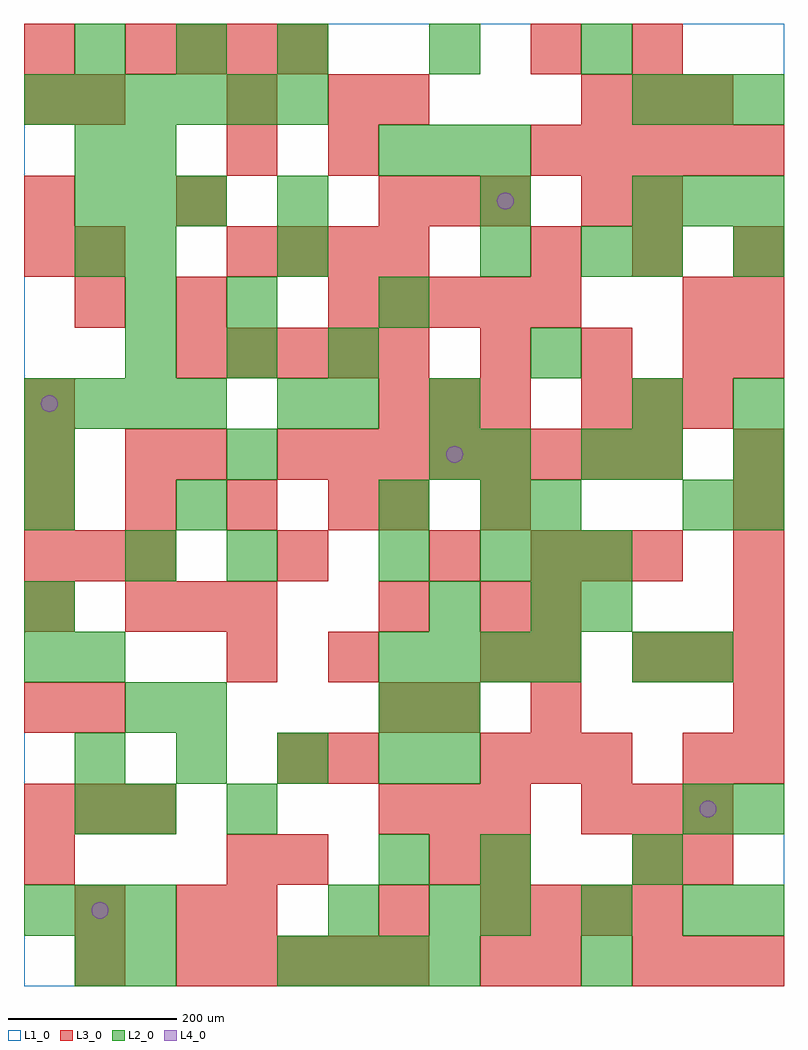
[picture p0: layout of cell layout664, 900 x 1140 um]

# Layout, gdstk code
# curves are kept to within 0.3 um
import gdstk
lib = gdstk.Library(unit=1e-6, precision=1e-09)
def R(c, l, rs):  # rectangles x0, y0, x1, y1
    for r in rs: c.add(gdstk.rectangle(r[:2], r[2:], *l))
def A(c, l, x, y, w, h, nx, ny, dx, dy):  # array of equal rectangles
    R(c, l, [(x+i*dx, y+j*dy, x+i*dx+w, y+j*dy+h) for i in range(nx) for j in range(ny)])
def P(c, l, *ps):  # polygons
    for p in ps: c.add(gdstk.Polygon(p, *l))
L1_0 = (1, 0)
L2_0 = (2, 0)
L3_0 = (3, 0)
L4_0 = (4, 0)

layout664 = lib.new_cell('layout664')
R(layout664, L1_0, [(0,0,900,1140)])
A(layout664, L2_0, 60, 0, 60, 60, 1, 3, 0, 180)
A(layout664, L2_0, 300, 0, 60, 60, 4, 1, 60, 0)
A(layout664, L2_0, 0, 60, 60, 60, 3, 1, 60, 0)
A(layout664, L2_0, 540, 60, 60, 60, 3, 1, 120, 0)
A(layout664, L2_0, 420, 120, 60, 60, 1, 3, 0, 180)
A(layout664, L2_0, 720, 120, 60, 60, 1, 3, 0, 240)
A(layout664, L2_0, 240, 180, 60, 60, 1, 3, 0, 300)
A(layout664, L2_0, 780, 180, 60, 60, 1, 3, 0, 180)
A(layout664, L2_0, 60, 240, 60, 60, 4, 1, 120, 0)
A(layout664, L2_0, 420, 360, 60, 60, 4, 1, 60, 0)
A(layout664, L2_0, 540, 480, 60, 60, 3, 1, 60, 0)
A(layout664, L2_0, 840, 540, 60, 60, 1, 3, 0, 60)
A(layout664, L2_0, 0, 600, 60, 60, 3, 1, 240, 0)
A(layout664, L2_0, 660, 600, 60, 60, 1, 3, 0, 240)
A(layout664, L2_0, 0, 660, 60, 60, 4, 1, 60, 0)
A(layout664, L2_0, 120, 720, 60, 60, 3, 1, 120, 0)
A(layout664, L2_0, 60, 900, 60, 60, 3, 1, 60, 0)
A(layout664, L2_0, 720, 900, 60, 60, 3, 2, 60, 120)
A(layout664, L2_0, 420, 960, 60, 60, 3, 1, 60, 0)
A(layout664, L2_0, 0, 1020, 60, 60, 6, 1, 60, 0)
A(layout664, L2_0, 60, 1080, 60, 60, 3, 1, 120, 0)
R(layout664, L2_0, [(120,0,180,60), (660,0,720,60), (360,60,420,120), (480,60,540,120), (840,60,900,120), (540,120,600,180), (120,180,180,240), (840,180,900,240), (480,240,540,300), (120,300,180,360), (180,300,240,360), (480,300,540,360), (0,360,60,420), (0,420,60,480), (480,420,540,480), (600,420,660,480), (660,420,720,480), (120,480,180,540), (0,540,60,600), (180,540,240,600), (420,540,480,600), (540,540,600,600), (600,540,660,600), (540,600,600,660), (300,660,360,720), (360,660,420,720), (480,660,540,720), (720,660,780,720), (600,720,660,780), (120,780,180,840), (420,780,480,840), (60,840,120,900), (120,840,180,900), (300,840,360,900), (540,840,600,900), (720,840,780,900), (840,840,900,900), (300,900,360,960), (540,900,600,960), (60,960,120,1020), (120,960,180,1020), (480,1080,540,1140)])
A(layout664, L3_0, 180, 0, 60, 60, 5, 2, 60, 720)
A(layout664, L3_0, 720, 0, 60, 60, 3, 2, 60, 360)
A(layout664, L3_0, 540, 60, 60, 60, 4, 1, 60, 0)
A(layout664, L3_0, 480, 120, 60, 60, 1, 3, 0, 180)
A(layout664, L3_0, 0, 180, 60, 60, 3, 2, 60, 300)
A(layout664, L3_0, 420, 180, 60, 60, 3, 2, 60, 480)
A(layout664, L3_0, 660, 180, 60, 60, 3, 2, 60, 480)
A(layout664, L3_0, 540, 240, 60, 60, 3, 1, 60, 0)
A(layout664, L3_0, 420, 300, 60, 60, 1, 3, 0, 120)
A(layout664, L3_0, 600, 300, 60, 60, 1, 3, 0, 60)
A(layout664, L3_0, 120, 420, 60, 60, 3, 1, 60, 0)
A(layout664, L3_0, 840, 420, 60, 60, 1, 4, 0, 60)
A(layout664, L3_0, 600, 480, 60, 60, 3, 1, 60, 0)
A(layout664, L3_0, 0, 540, 60, 60, 4, 1, 120, 0)
A(layout664, L3_0, 300, 600, 60, 60, 8, 1, 60, 0)
A(layout664, L3_0, 540, 720, 60, 60, 3, 1, 120, 0)
A(layout664, L3_0, 360, 780, 60, 60, 5, 1, 60, 0)
A(layout664, L3_0, 240, 840, 60, 60, 4, 1, 60, 0)
A(layout664, L3_0, 600, 840, 60, 60, 3, 1, 120, 0)
A(layout664, L3_0, 420, 900, 60, 60, 3, 1, 60, 0)
A(layout664, L3_0, 600, 960, 60, 60, 5, 1, 60, 0)
A(layout664, L3_0, 660, 1020, 60, 60, 3, 1, 60, 0)
A(layout664, L3_0, 120, 1080, 60, 60, 4, 1, 60, 0)
R(layout664, L3_0, [(60,0,120,60), (540,0,600,60), (600,0,660,60), (60,60,120,120), (180,60,240,120), (240,60,300,120), (420,60,480,120), (0,120,60,180), (240,120,300,180), (300,120,360,180), (540,120,600,180), (720,120,780,180), (780,120,840,180), (300,240,360,300), (360,240,420,300), (780,240,840,300), (840,240,900,300), (0,300,60,360), (60,300,120,360), (840,300,900,360), (240,360,300,420), (360,360,420,420), (540,360,600,420), (0,420,60,480), (540,420,600,480), (300,480,360,540), (540,540,600,600), (0,600,60,660), (120,600,180,660), (180,600,240,660), (0,660,60,720), (840,720,900,780), (60,780,120,840), (180,780,240,840), (780,780,840,840), (840,780,900,840), (0,840,60,900), (60,840,120,900), (0,900,60,960), (180,900,240,960), (660,900,720,960), (720,900,780,960), (240,960,300,1020), (360,960,420,1020), (0,1020,60,1080), (60,1020,120,1080), (240,1020,300,1080), (360,1020,420,1080), (420,1020,480,1080), (0,1080,60,1140), (600,1080,660,1140), (720,1080,780,1140)])
P(layout664, L4_0, [(40,690),(39.239,693.827),(37.071,697.071),(33.827,699.239),(30,700),(26.173,699.239),(22.929,697.071),(20.761,693.827),(20,690),(20.761,686.173),(22.929,682.929),(26.173,680.761),(30,680),(33.827,680.761),(37.071,682.929),(39.239,686.173)],
  [(100,90),(99.239,93.827),(97.071,97.071),(93.827,99.239),(90,100),(86.173,99.239),(82.929,97.071),(80.761,93.827),(80,90),(80.761,86.173),(82.929,82.929),(86.173,80.761),(90,80),(93.827,80.761),(97.071,82.929),(99.239,86.173)],
  [(520,630),(519.239,633.827),(517.071,637.071),(513.827,639.239),(510,640),(506.173,639.239),(502.929,637.071),(500.761,633.827),(500,630),(500.761,626.173),(502.929,622.929),(506.173,620.761),(510,620),(513.827,620.761),(517.071,622.929),(519.239,626.173)],
  [(580,930),(579.239,933.827),(577.071,937.071),(573.827,939.239),(570,940),(566.173,939.239),(562.929,937.071),(560.761,933.827),(560,930),(560.761,926.173),(562.929,922.929),(566.173,920.761),(570,920),(573.827,920.761),(577.071,922.929),(579.239,926.173)],
  [(820,210),(819.239,213.827),(817.071,217.071),(813.827,219.239),(810,220),(806.173,219.239),(802.929,217.071),(800.761,213.827),(800,210),(800.761,206.173),(802.929,202.929),(806.173,200.761),(810,200),(813.827,200.761),(817.071,202.929),(819.239,206.173)])

lib.write_gds('layout664.gds')
